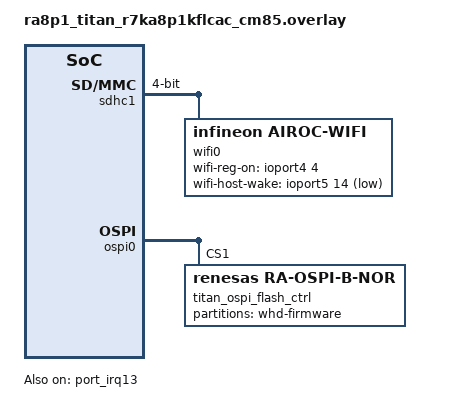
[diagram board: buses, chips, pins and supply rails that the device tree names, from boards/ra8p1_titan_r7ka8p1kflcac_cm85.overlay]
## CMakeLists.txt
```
cmake_minimum_required(VERSION 3.28.0)

# 应用只引用上游资源文件的路径；不修改上游模块，也不把固件加入 CM85 镜像。
get_filename_component(TITAN_INFINEON_DIR
    "${CMAKE_CURRENT_LIST_DIR}/../../modules/hal/infineon"
    ABSOLUTE
)

set(WIFI_FIRMWARE_IMAGE
    "${TITAN_INFINEON_DIR}/zephyr/blobs/img/whd/resources/firmware/COMPONENT_43438/43438A1.bin"
)

set(WIFI_CLM_IMAGE
    "${TITAN_INFINEON_DIR}/zephyr/blobs/img/whd/resources/clm/COMPONENT_43438/COMPONENT_AW-CU427-P/43438A1.clm_blob"
)

set(WIFI_NVRAM_IMAGE
    "${TITAN_INFINEON_DIR}/whd-expansion/WHD/COMPONENT_WIFI5/resources/nvram/COMPONENT_43438/COMPONENT_AW-CU427-P/cyw943438_aw-cu427.txt"
)

if(NOT EXISTS "${WIFI_FIRMWARE_IMAGE}")
    message(FATAL_ERROR "Wi-Fi firmware image not found: ${WIFI_FIRMWARE_IMAGE}")
endif()

if(NOT EXISTS "${WIFI_CLM_IMAGE}")
    message(FATAL_ERROR "Wi-Fi CLM image not found: ${WIFI_CLM_IMAGE}")
endif()

if(NOT EXISTS "${WIFI_NVRAM_IMAGE}")
    message(FATAL_ERROR "Wi-Fi NVRAM image not found: ${WIFI_NVRAM_IMAGE}")
endif()

# 固件已经预先写入外部 Flash；这里只读取源文件大小作为运行时边界，
# 不生成 firmware .inc，也不会把 firmware 二进制链接进主控镜像。
file(SIZE "${WIFI_FIRMWARE_IMAGE}" WIFI_FIRMWARE_IMAGE_SIZE)

find_package(Zephyr REQUIRED HINTS $ENV{ZEPHYR_BASE})
project(wifi)

set(WIFI_GENERATED_DIR
    "${ZEPHYR_BINARY_DIR}/include/generated"
)

zephyr_include_directories(
    "${CMAKE_CURRENT_LIST_DIR}/src"
    "${WIFI_GENERATED_DIR}"
)

# 让 WHD 的 resource_read() 把外部资源交给应用回调。
zephyr_compile_definitions(USES_RESOURCES_IN_EXTERNAL_STORAGE)
target_compile_definitions(app PRIVATE
    WIFI_FW_IMAGE_SIZE=${WIFI_FIRMWARE_IMAGE_SIZE}
)

# custom resource 模式下，上游仍需要 CLM/NVRAM 的 C 数组；这两个生成文件
# 只包含 CLM/NVRAM，不包含 419799 字节的 Wi-Fi 固件。
generate_inc_file_for_target(
    app
    "${WIFI_CLM_IMAGE}"
    "${WIFI_GENERATED_DIR}/wifi_clm_blob.inc"
)

# RESOURCE_READ_FROM_C_FILE does not convert text line endings at runtime.
# Build the NUL-separated, double-terminated image required by the Wi-Fi chip.
set(WIFI_NVRAM_GENERATOR "${CMAKE_CURRENT_LIST_DIR}/scripts/generate_nvram.py")
set(WIFI_NVRAM_INCLUDE "${WIFI_GENERATED_DIR}/wifi_nvram_blob.inc")
add_custom_command(
    OUTPUT "${WIFI_NVRAM_INCLUDE}"
    COMMAND ${PYTHON_EXECUTABLE} "${WIFI_NVRAM_GENERATOR}"
            --input "${WIFI_NVRAM_IMAGE}" --output "${WIFI_NVRAM_INCLUDE}"
    DEPENDS "${WIFI_NVRAM_IMAGE}" "${WIFI_NVRAM_GENERATOR}"
    VERBATIM
)
add_custom_target(wifi_nvram DEPENDS "${WIFI_NVRAM_INCLUDE}")
add_dependencies(zephyr_interface wifi_nvram)

target_sources(app PRIVATE
    src/main.c
    src/wifi_firmware_flash.c
    src/wifi_resources.c
)
```

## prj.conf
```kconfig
# 基础网络和 Infineon AIROC Wi-Fi 支持。
CONFIG_NETWORKING=y
CONFIG_WIFI=y
CONFIG_WIFI_AIROC=y

# IPv4 LAN connectivity for the Wi-Fi STA interface.
CONFIG_NET_IPV4=y
CONFIG_NET_UDP=y
CONFIG_NET_DHCPV4=y
CONFIG_WIFI_STA_AUTO_DHCPV4=y

# 使用应用侧 custom resource 接口：固件从外部 OSPI Flash 读取。
# 不设置 CONFIG_CYW43438；custom 模式会关闭上游的固定芯片选择项。
CONFIG_AIROC_WIFI_CUSTOM=y

# Wi-Fi、网络和设备 Shell，便于首次启动观察和诊断。
CONFIG_SHELL=y
CONFIG_DEVICE_SHELL=y
CONFIG_NET_L2_WIFI_SHELL=y
CONFIG_NET_SHELL=y

# Wi-Fi scan results arrive asynchronously; leave room for a burst while the
# shell prints them over UART.
CONFIG_NET_MGMT_EVENT_QUEUE_SIZE=32
CONFIG_NET_MGMT_EVENT_QUEUE_TIMEOUT=100

# Scan callbacks format shell output in net_mgmt, not in the shell thread.
# The default 800-byte stack overflows on this Cortex-M85 debug build.
CONFIG_NET_MGMT_EVENT_STACK_SIZE=4096
CONFIG_STACK_SENTINEL=y

# AIROC/WHD 动态内存预算。
CONFIG_HEAP_MEM_POOL_SIZE=131072

# 保留外部 OSPI Flash 驱动和分区读取 API。
CONFIG_FLASH=y
CONFIG_FLASH_PAGE_LAYOUT=y
CONFIG_FLASH_JESD216_API=y
CONFIG_FLASH_RENESAS_RA_OSPI_B=y
CONFIG_FLASH_SHELL=y
CONFIG_FLASH_SHELL_TEST_COMMANDS=n

# 直接从 UART 输出日志，便于捕获 Wi-Fi 初始化失败原因。
CONFIG_LOG=y
CONFIG_LOG_DEFAULT_LEVEL=3
CONFIG_WIFI_LOG_LEVEL_INF=y
CONFIG_FLASH_LOG_LEVEL_DBG=y
CONFIG_LOG_MODE_IMMEDIATE=y
CONFIG_LOG_BACKEND_UART=y
CONFIG_SHELL_LOG_BACKEND=n
CONFIG_LOG_PRINTK=n

CONFIG_MAIN_STACK_SIZE=4096

# 当前应用不使用有线以太网，释放镜像空间和相关初始化路径。
CONFIG_ETH_RENESAS_RA_RMAC=n
CONFIG_MDIO_RENESAS_RA_RMAC=n
CONFIG_PHY_REALTEK_RTL8211F=n
```

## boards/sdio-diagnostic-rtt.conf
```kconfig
# Provide a second shell over J-Link RTT so diagnostics do not rely on UART pins.
CONFIG_USE_SEGGER_RTT=y
CONFIG_SHELL_BACKEND_RTT=y
# Keep the RTT shell off buffer 0, which is already used by RTT logging.
CONFIG_SHELL_BACKEND_RTT_BUFFER=1
CONFIG_SEGGER_RTT_BUFFER_SIZE_UP=4096
# Route WHD's printf diagnostics to RTT while leaving the UART port untouched.
CONFIG_UART_CONSOLE=n
CONFIG_RTT_CONSOLE=y
```

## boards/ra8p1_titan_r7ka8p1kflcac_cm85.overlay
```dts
/* SDHI1：连接板载 CYW43438 Wi-Fi 模块。 */
&sdhc1 {
	status = "okay";

	pinctrl-0 = <&sdhc1_default>;
	pinctrl-names = "default";

	bus-width = <4>;
	max-bus-freq = <25000000>;

	/delete-property/ card-detect;

	interrupt-names = "accs", "card", "dma-req", "sdio-int";
	interrupts = <31 12>, <32 12>, <33 12>, <34 12>;

	wifi0: wifi {
		compatible = "infineon,airoc-wifi";
		status = "okay";

		/* P404：主控控制 Wi-Fi 模块使能。 */
		wifi-reg-on-gpios = <&ioport4 4 GPIO_ACTIVE_HIGH>;

		/* P514：Wi-Fi 模块向主控发出通知。 */
		wifi-host-wake-gpios = <&ioport5 14 GPIO_ACTIVE_LOW>;
	};
};

/* P514 对应外部中断通道 13，分配 CPU 中断号 35。 */
&port_irq13 {
	interrupts = <35 12>;
	status = "okay";
};







#include <zephyr/dt-bindings/flash_controller/ospi.h>

/* Titan 的 PLL2Q 已配置为 800 MHz，分频后 OCTACLK 为 100 MHz。 */
&octaspiclk {
	clocks = <&pll2q>;
	div = <8>;
	status = "okay";
};

&pinctrl {
	titan_ospi0_default: titan_ospi0_default {
		group1 {
			psels = <RA_PSEL(RA_PSEL_OSPI, 8, 8)>, /* CLK */
				<RA_PSEL(RA_PSEL_OSPI, 8, 1)>, /* DQS */
				<RA_PSEL(RA_PSEL_OSPI, 1, 0)>, /* D0 */
				<RA_PSEL(RA_PSEL_OSPI, 8, 3)>, /* D1 */
				<RA_PSEL(RA_PSEL_OSPI, 1, 3)>, /* D2 */
				<RA_PSEL(RA_PSEL_OSPI, 1, 1)>, /* D3 */
				<RA_PSEL(RA_PSEL_OSPI, 1, 2)>, /* D4 */
				<RA_PSEL(RA_PSEL_OSPI, 8, 0)>, /* D5 */
				<RA_PSEL(RA_PSEL_OSPI, 8, 2)>, /* D6 */
				<RA_PSEL(RA_PSEL_OSPI, 8, 4)>; /* D7 */
			drive-strength = "highspeed-high";
		};

		group2 {
			psels = <RA_PSEL(RA_PSEL_OSPI, 1, 4)>, /* CS1 */
				<RA_PSEL(RA_PSEL_OSPI, 1, 6)>; /* RESET */
			drive-strength = "high";
		};
	};
};

&ospi0 {
	pinctrl-0 = <&titan_ospi0_default>;
	pinctrl-names = "default";
	status = "okay";

	titan_ospi_flash_ctrl: flash-controller@1 {
		compatible = "renesas,ra-ospi-b-nor";
		reg = <1>;

		/* 子节点偏移 0 对应 CPU 地址 0x90000000。 */
		ranges = <0x0 0x90000000 DT_SIZE_M(64)>;
		#address-cells = <1>;
		#size-cells = <1>;

		/* 先用单线 SPI 模式验证通信。 */
		protocol-mode = <OSPI_SPI_MODE>;
		nor-max-frequency = <DT_FREQ_M(50)>;
		jedec-id = [ef 5b 1a];
		status = "okay";

		titan_ospi_flash: nor-flash@0 {
			compatible = "soc-nv-flash";
			reg = <0x0 DT_SIZE_M(64)>;
			write-block-size = <16>;
			erase-block-size = <DT_SIZE_K(4)>;
		};
	};
};

&titan_ospi_flash {
	partitions {
		compatible = "fixed-partitions";
		#address-cells = <1>;
		#size-cells = <1>;

		/* 应用规划的 Wi-Fi 固件分区：32 MiB 起，512 KiB。 */
		whd_firmware_partition: partition@2000000 {
			label = "whd-firmware";
			reg = <0x02000000 DT_SIZE_K(512)>;
		};
	};
};









/* 当前应用先验证 Wi-Fi，关闭两路有线以太网控制器。 */
&eth0 {
	status = "disabled";
};

&eth1 {
	status = "disabled";
};

/* 关闭对应 PHY 的管理总线。 */
&mdio0 {
	status = "disabled";
};

&mdio1 {
	status = "disabled";
};

/* 关闭两颗有线以太网 PHY。 */
&phy1 {
	status = "disabled";
};

&phy2 {
	status = "disabled";
};

/* 关闭有线以太网交换模块。 */
&eswm {
	status = "disabled";
};





&option_setting_ofs0 { status = "disabled"; };
&option_setting_ofs2 { status = "disabled"; };
&option_setting_sas { status = "disabled"; };
&option_setting_ofs1_sec { status = "disabled"; };
&option_setting_ofs3_sec { status = "disabled"; };
&option_setting_ofs1_sel { status = "disabled"; };
&option_setting_ofs3_sel { status = "disabled"; };
&option_setting_bps_sec { status = "disabled"; };
&option_setting_otp_pbps_sec { status = "disabled"; };
```

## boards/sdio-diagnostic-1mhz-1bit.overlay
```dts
/* Diagnostic A/B: keep the clock low and use only SDIO CMD, CLK, and DAT0. */
&sdhc1 {
	max-bus-freq = <1000000>;
	bus-width = <1>;
};
```

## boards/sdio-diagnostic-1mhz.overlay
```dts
/* Temporary A/B test: constrain SDHI1's maximum SDIO bus rate to 1 MHz. */
&sdhc1 {
	max-bus-freq = <1000000>;
};
```

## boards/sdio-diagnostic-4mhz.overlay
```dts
/* Temporary diagnostic overlay to constrain SDHI1's advertised host clock. */
&sdhc1 {
	max-bus-freq = <4000000>;
};
```

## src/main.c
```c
#include <zephyr/kernel.h>
#include <zephyr/init.h>
#include <zephyr/sys/printk.h>

int main(){

    return 0;
} 
```

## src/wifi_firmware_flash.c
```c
#include "wifi_firmware_flash.h"

#include <errno.h>

#include <zephyr/device.h>
#include <zephyr/drivers/flash.h>
#include <zephyr/storage/flash_map.h>

#ifndef WIFI_FW_IMAGE_SIZE
#error "WIFI_FW_IMAGE_SIZE must be supplied by the application CMakeLists.txt"
#endif

static const struct device *const firmware_flash =
    PARTITION_DEVICE(whd_firmware_partition);

/*
 * 读取 Wi-Fi 固件的一段数据。
 * 这是应用内部 API，之后 WHD 的外部资源读取钩子也会调用它。
 */
int wifi_firmware_flash_read(uint32_t image_offset, void *buffer, size_t length)
{
    if (buffer == NULL && length != 0U)
    {
        return -EINVAL;
    }

    if (image_offset > WIFI_FW_IMAGE_SIZE ||
        length > (size_t)(WIFI_FW_IMAGE_SIZE - image_offset))
    {
        return -EINVAL;
    }

    if (length == 0U)
    {
        return 0;
    }

    if (!device_is_ready(firmware_flash))
    {
        return -ENODEV;
    }

    return flash_read(firmware_flash,
                      PARTITION_OFFSET(whd_firmware_partition) + image_offset,
                      buffer,
                      length);
}
```

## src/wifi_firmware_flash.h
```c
#ifndef WIFI_FIRMWARE_FLASH_H
#define WIFI_FIRMWARE_FLASH_H

#include <stddef.h>
#include <stdint.h>

/*
 * 从外部 Flash 的 Wi-Fi 固件分区读取数据。
 * image_offset 是相对固件起点的偏移，不是 CPU 映射地址。
 */
int wifi_firmware_flash_read(uint32_t image_offset, void *buffer, size_t length);

#endif
```

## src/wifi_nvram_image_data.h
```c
#ifndef WIFI_NVRAM_IMAGE_DATA_H
#define WIFI_NVRAM_IMAGE_DATA_H

#include <stdint.h>

#include "wifi_resources.h"

/*
 * RESOURCE_READ_FROM_C_FILE 模式下，WHD 直接从这个数组取得 NVRAM。
 * wifi_nvram_blob.inc 由应用构建脚本把上游文本转换为 NUL 分隔的
 * key=value 条目，末尾双 NUL 并按 4 字节补齐。此模式下 WHD 不会
 * 转换文本换行；不能直接把 CRLF/LF 文本生成的字节数组交给芯片。
 */
static const unsigned char wifi_nvram_image[] = {
#include <wifi_nvram_blob.inc>
};

#endif
```

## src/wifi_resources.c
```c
#include <stddef.h>
#include <stdint.h>

#include <wiced_resource.h>

#include "wifi_firmware_flash.h"
#include "wifi_resources.h"

#ifndef WIFI_FW_IMAGE_SIZE
#error "WIFI_FW_IMAGE_SIZE must be supplied by the application CMakeLists.txt"
#endif

/*
 * 固件句柄只记录外部资源的位置和长度；固件字节本身不定义在这个镜像中。
 * WHD 后续会以该句柄为入口调用 platform_read_external_resource()。
 */
const resource_hnd_t wifi_firmware_image = {
	.location = RESOURCE_IN_EXTERNAL_STORAGE,
	.size = WIFI_FW_IMAGE_SIZE,
	.val.external_storage_context = NULL,
};

/* CLM 仍作为应用只读数据保留在 CM85 镜像中。 */
const unsigned char wifi_firmware_clm_blob_data[] = {
#include <wifi_clm_blob.inc>
};

const resource_hnd_t wifi_firmware_clm_blob = {
	.location = RESOURCE_IN_MEMORY,
	.size = sizeof(wifi_firmware_clm_blob_data),
	.val.mem = {
		.data = (const char *)wifi_firmware_clm_blob_data,
	},
};

/**
 * 从外部 OSPI Flash 的 whd-firmware 分区读取 Wi-Fi 固件。
 *
 * 该函数是 WHD 的资源接口回调，offset 和 maxsize 都是相对于固件起点
 * 的值。底层 wifi_firmware_flash_read() 再把相对偏移转换为分区内偏移。
 */
resource_result_t platform_read_external_resource(
	const resource_hnd_t *resource,
	uint32_t offset,
	uint32_t maxsize,
	uint32_t *size,
	void *buffer)
{
	uint32_t actual_size;

	if (resource == NULL || size == NULL ||
	    (buffer == NULL && maxsize != 0U)) {
		return RESOURCE_FILE_READ_FAIL;
	}

	if (offset > resource->size) {
		return RESOURCE_OFFSET_TOO_BIG;
	}

	actual_size = maxsize;
	if (actual_size > resource->size - offset) {
		actual_size = resource->size - offset;
	}

	if (wifi_firmware_flash_read(offset, buffer, actual_size) != 0) {
		return RESOURCE_FILE_READ_FAIL;
	}

	*size = actual_size;
	return RESOURCE_SUCCESS;
}
```

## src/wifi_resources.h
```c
#ifndef WIFI_RESOURCES_H
#define WIFI_RESOURCES_H

#include <stdint.h>

#include <wiced_resource.h>

/**
 * 由 WHD resource_read() 调用的应用侧外部资源读取回调。
 *
 * @param resource  外部资源句柄。
 * @param offset    相对于资源起点的读取偏移。
 * @param maxsize   调用方缓冲区最多可接收的字节数。
 * @param size      返回实际读取的字节数。
 * @param buffer    调用方提供的目标缓冲区。
 * @return          WHD 资源读取结果码。
 */
resource_result_t platform_read_external_resource(
	const resource_hnd_t *resource,
	uint32_t offset,
	uint32_t maxsize,
	uint32_t *size,
	void *buffer);

#endif
```
